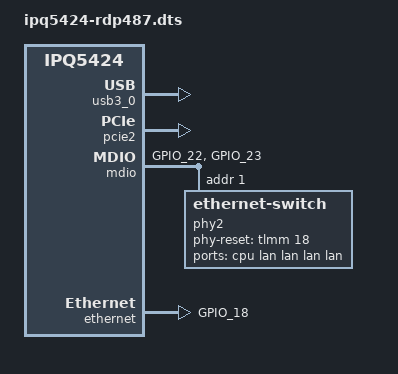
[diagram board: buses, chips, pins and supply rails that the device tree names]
// SPDX-License-Identifier: GPL-2.0-only
/*
* Copyright (c) 2023-2024, Qualcomm Innovation Center, Inc. All rights reserved.
*/

#include "ipq5424-default.dts"

/ {
	config_name = "config-rdp487";

	soc: soc@0 {
		tlmm: pinctrl@1000000 {
			mdio_pinmux: mdio {
				mdc {
					pins = "GPIO_22";
					function = "mdc";
					drive-strength = <DRIVE_STRENGTH_8MA>;
					bias-disable;
				};

				mdio {
					pins = "GPIO_23";
					function = "mdio";
					drive-strength = <DRIVE_STRENGTH_8MA>;
					bias-pull-up;
				};
			};

			phy_rst_pinmux: phy_rst {
				qti_8x8x_rst {
					pins = "GPIO_18";
					drive-strength = <DRIVE_STRENGTH_8MA>;
					bias-pull-up;
				};
			};
		};

		qusb2_phy_0: qusb2@7B000 {
			status = "okay";
		};

		usb3_0: usb@8af8800 {
			status = "okay";
			qti,select-utmi-as-pipe-clk;

			dwc3@8a00000 {
				phys = <&qusb2_phy_0>;
				phy-names = "usb2-phy";
				maximum-speed = "high-speed";
			};
		};

		pcie2_phy: phy@f4000 {
			status = "okay";
		};

		pcie2: pcie@50000000 {
			pinctrl-names = "default";
			pinctrl-0 = <&pcie2_pinmux>;
			perst_gpio = <&tlmm 31 GPIO_ACTIVE_HIGH>;
			status = "okay";
		};

		mdio: mdio@90000 {
			pinctrl-names = "default";
			pinctrl-0 = <&mdio_pinmux>;
			status = "okay";

			phy2: ethernet-switch@1 {
				phy-reset-gpio = <&tlmm 18 0>;
				dev-mode = <0x1>;
				reg = <1>;
				phy_id = <QCA8x8x_SWITCH_TYPE>;
				id = <3>;
				uniphy_id = <2>;
				uniphy_type = <0>;
				max_speed = <2500>;
				force-speed;
				xgmac;
				ports {
					#address-cells = <1>;
					#size-cells = <0>;

					port0: port@0 {
						reg = <0>;
						label = "cpu";
						phy-mode = "sgmii-2500";
						fixed-link {
							speed = <2500>;
							full-duplex;
						};
					};

					port1: port@1 {
						reg = <1>;
						label = "lan";
					};

					port2: port@2 {
						reg = <2>;
						label = "lan";
					};

					port3: port@3 {
						reg = <3>;
						label = "lan";
					};

					port4: port@4 {
						reg = <4>;
						label = "lan";
					};
				};
			};
		};

		ethernet: nss-switch {
			pinctrl-names = "default";
			pinctrl-0 = <&phy_rst_pinmux>;
			phy-handle2 = <&phy2>;
			status = "okay";
		};
	};
};
